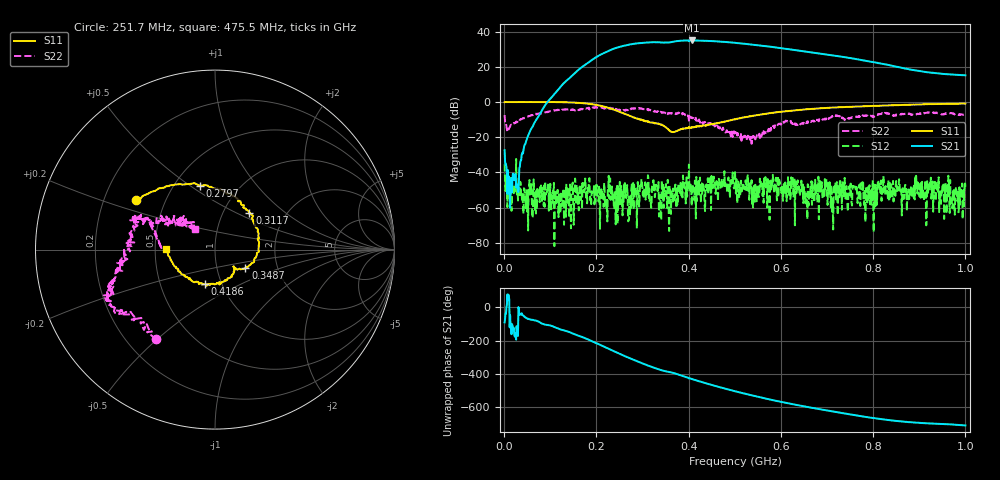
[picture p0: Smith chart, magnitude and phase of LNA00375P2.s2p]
! Created with skrf 1.9.0 (http://scikit-rf.org).
# Hz S RI R 50.0
!freq ReS11 ImS11 ReS21 ImS21 ReS12 ImS12 ReS22 ImS22
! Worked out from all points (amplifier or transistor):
!   1001 points, 1 MHz to 1 GHz, reference 50 ohm
!   highest |S21| = 34.9 dB at 406.6 MHz (marker M1)
!   |S21| within 3 dB of that: 260.1 MHz to 559.3 MHz (299.2 MHz wide, 73 % of centre)
!   unconditionally stable (mu >= 1): 230.1 MHz to 311.4 MHz; 312.2 MHz to 400.5 MHz; 400.7 MHz to end of sweep (the widest 3 of 29)
!   at 166.8 MHz: K = 2.19, MAG = 30.8 dB, |S12| = -54.6 dB
!   at 500.5 MHz: K = 1.04, MAG = 35.0 dB, |S12| = -38.9 dB
!   at 1 GHz: K = 3.65, MAG = 23.1 dB, |S12| = -48.0 dB
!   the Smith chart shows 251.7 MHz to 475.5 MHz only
!   S11 on the Smith chart (normalised r, x): 251.7 MHz: 0.34, +0.26; 279.7 MHz: 0.67, +0.55; 311.7 MHz: 1.33, +0.59; 348.7 MHz: 1.37, -0.29; 418.6 MHz: 0.83, -0.34; 475.5 MHz: 0.57, +0.01
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1000000  0.9877 0.00549  -0.00025 -0.0427  -0.0138 -0.0101  0.3166 0.2833
1.08892e8  0.5082 -0.8531  -0.7996 -1.475  -7.99e-05 -9.89e-06  0.4242 -0.382
1.67833e8  -0.2539 -0.8944  -9.61 -0.4999  -0.00395 -0.000298  0.0288 -0.6375
2.12788e8  -0.6955 -0.3045  -14.58 18.16  0.000981 -0.00274  -0.2049 -0.6401
2.31769e8  -0.6483 0.0145  -7.311 29.36  -0.00288 -0.0012  -0.2931 -0.5796
2.51749e8  -0.439 0.2738  7.182 36.36  -0.000841 0.000784  -0.3268 -0.4975
2.79721e8  -0.0828 0.3558  31.45 31.6  -0.00408 -0.00291  -0.5549 -0.3168
3.11689e8  0.192 0.203  47.95 8.632  -0.00824 -0.0009  -0.6039 -0.2061
3.34666e8  0.2447 -0.0121  48.35 -10.95  -0.00282 0.00455  -0.5046 -0.0643
3.48652e8  0.1699 -0.1019  44.4 -19.63  0.000332 0.00234  -0.4972 -0.008
3.75625e8  0.1067 -0.1071  39.58 -36.46  0.000571 0.00102  -0.4421 0.1531
4.06594e8  0.0115 -0.1855  18.18 -52.83  -0.000925 0.000614  -0.325 0.1746
4.18582e8  -0.0545 -0.1936  8.179 -54.65  0.0023 0.00281  -0.2567 0.1589
4.45555e8  -0.1888 -0.1353  -12.28 -52.43  0.00175 0.00522  -0.1867 0.133
4.75525e8  -0.2738 0.00493  -30.43 -41.04  0.00401 0.00107  -0.1141 0.1174
5.005e8  -0.2928 0.1441  -39.38 -27.66  -0.00289 0.011  -0.0894 0.0962
5.36464e8  -0.2035 0.3388  -42.01 -7.641  0.00414 -0.00439  -0.0645 -0.00795
5.85415e8  0.0122 0.4995  -33.68 12.48  0.00209 -0.00153  -0.1609 -0.0843
6.67333e8  0.4057 0.4887  -10.81 22.93  0.00121 2.23e-05  -0.2811 -0.0536
7.53247e8  0.679 0.2737  4.721 16.71  0.00108 -0.000832  -0.3525 0.0249
8.34166e8  0.8003 0.0118  8.378 7.417  0.00116 -0.00092  -0.4552 0.0988
1e9  0.7243 -0.5382  5.657 0.9133  0.000475 -0.00393  -0.2006 0.3982
